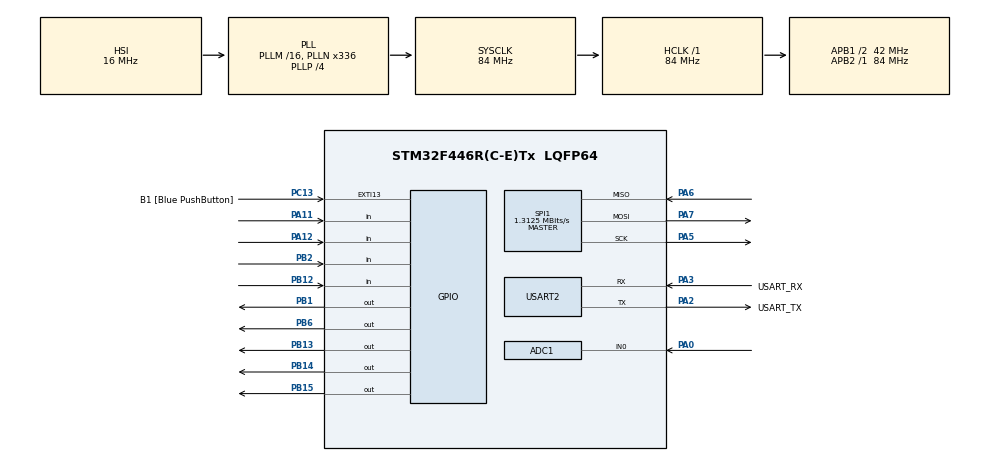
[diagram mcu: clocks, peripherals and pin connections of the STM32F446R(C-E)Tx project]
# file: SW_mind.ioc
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ADC1.Channel-0\#ChannelRegularConversion=ADC_CHANNEL_0
ADC1.NbrOfConversionFlag=1
ADC1.Rank-0\#ChannelRegularConversion=1
ADC1.Resolution=ADC_RESOLUTION_8B
ADC1.SamplingTime-0\#ChannelRegularConversion=ADC_SAMPLETIME_3CYCLES
ADC1.master=1
FREERTOS.Tasks01=defaultTask,24,128,StartDefaultTask,Default,NULL,Dynamic,NULL,NULL
Mcu.Family=STM32F4
Mcu.Name=STM32F446R(C-E)Tx
Mcu.Package=LQFP64
NVIC.PriorityGroup=NVIC_PRIORITYGROUP_4
PA0-WKUP.Signal=ADCx_IN0
PA11.Signal=GPIO_Input
PA12.Signal=GPIO_Input
PA13.GPIO_Label=TMS
PA13.Mode=Serial_Wire
PA13.Signal=SYS_JTMS-SWDIO
PA14.GPIO_Label=TCK
PA14.Mode=Serial_Wire
PA14.Signal=SYS_JTCK-SWCLK
PA2.GPIO_Label=USART_TX
PA2.Mode=Asynchronous
PA2.Signal=USART2_TX
PA3.GPIO_Label=USART_RX
PA3.Mode=Asynchronous
PA3.Signal=USART2_RX
PA5.Mode=Full_Duplex_Master
PA5.Signal=SPI1_SCK
PA6.Mode=Full_Duplex_Master
PA6.Signal=SPI1_MISO
PA7.Mode=Full_Duplex_Master
PA7.Signal=SPI1_MOSI
PB1.Signal=GPIO_Output
PB12.Signal=GPIO_Input
PB13.Signal=GPIO_Output
PB14.Signal=GPIO_Output
PB15.Signal=GPIO_Output
PB2.Signal=GPIO_Input
PB3.GPIO_Label=SWO
PB3.Signal=SYS_JTDO-SWO
PB6.Signal=GPIO_Output
PC13.GPIO_Label=B1 [Blue PushButton]
PC13.GPIO_ModeDefaultEXTI=GPIO_MODE_IT_FALLING
PC13.Signal=GPXTI13
PC14-OSC32_IN.Mode=LSE-External-Oscillator
PC14-OSC32_IN.Signal=RCC_OSC32_IN
PC15-OSC32_OUT.Mode=LSE-External-Oscillator
PC15-OSC32_OUT.Signal=RCC_OSC32_OUT
PH0-OSC_IN.Mode=HSE-External-Oscillator
PH0-OSC_IN.Signal=RCC_OSC_IN
PH1-OSC_OUT.Mode=HSE-External-Oscillator
PH1-OSC_OUT.Signal=RCC_OSC_OUT
ProjectManager.HeapSize=0x200
ProjectManager.StackSize=0x400
ProjectManager.TargetToolchain=STM32CubeIDE
RCC.48MHZClocksFreq_Value=84000000
RCC.AHBFreq_Value=84000000
RCC.APB1CLKDivider=RCC_HCLK_DIV2
RCC.APB1Freq_Value=42000000
RCC.APB1TimFreq_Value=84000000
RCC.APB2Freq_Value=84000000
RCC.APB2TimFreq_Value=84000000
RCC.CortexFreq_Value=84000000
RCC.FLatency-AdvancedSettings=FLASH_LATENCY_2
RCC.HCLKFreq_Value=84000000
RCC.HSE_VALUE=8000000
RCC.HSI_VALUE=16000000
RCC.PLLN=336
RCC.PLLP=RCC_PLLP_DIV4
RCC.SYSCLKFreq_VALUE=84000000
RCC.SYSCLKSource=RCC_SYSCLKSOURCE_PLLCLK
RCC.USBFreq_Value=168000000
RCC.VCOOutputFreq_Value=336000000
SH.ADCx_IN0.0=ADC1_IN0,IN0
SPI1.BaudRatePrescaler=SPI_BAUDRATEPRESCALER_64
SPI1.CalculateBaudRate=1.3125 MBits/s
SPI1.Direction=SPI_DIRECTION_2LINES
SPI1.Mode=SPI_MODE_MASTER
SPI1.VirtualType=VM_MASTER
USART2.VirtualMode=VM_ASYNC
VP_FREERTOS_VS_CMSIS_V2.Mode=CMSIS_V2
board=NUCLEO-F446RE

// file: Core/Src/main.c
/* USER CODE BEGIN Header */
/**
  ******************************************************************************
  * @file           : main.c
  * @brief          : Main program body
  ******************************************************************************
  * @attention
  *
  * Copyright (c) 2022 STMicroelectronics.
  * All rights reserved.
  *
  * This software is licensed under terms that can be found in the LICENSE file
  * in the root directory of this software component.
  * If no LICENSE file comes with this software, it is provided AS-IS.
  *
  ******************************************************************************
  */

/** \mainpage Mind game
 *
 * \section intro Założenia
 *
 * Projekt zakłada stworzenie gry w oparciu o mikrokontroler STM32 wspierający system FreeRTOS, oraz peryfiera w postaci
 * klawiatury matrycowej i wyświetlacz matrycowy LED.
 *
 * \section rules Zasady
 * Po wybraniu poziomu trudności na wyświetlaczu pojawi się pierwszy element z sekwencji przykładowych znaków
 * (wylosowanych z określonego zbioru dziesięciu cyfr od 0 do 9), zadaniem gracza jest zapamiętanie tej sekwencji
 * i po zakończeniu jej wyświetlania odtworzenie kolejności znaków za pośrednictwem klawiatury (każdy znak posiada
 * przyporządkowany jeden przycisk). W każdym etapie gry zwiększana jest liczba znaków do zapamiętania (modyfikacja
 * może także polegać na zwiększaniu zbioru możliwych znaków do zapamiętania). Gra kończy się w momencie, kiedy
 * gracz popełni pomyłkę podczas wprowadzania sekwencji znaków lub gdy wprowadzi wszystkie znaki które zostały wylosowane.
 * Grę można w dowolnym momencie przerwać poprzez naciśnięcie przycisku Start.
 *
 * \section perypherials Peryferia
 *
 * \subsection rand Generator liczb losowych
 * Generowanie liczb w sposób losowy odbywa się za pośrednictwem przetwornika ADC w funkcji generateRandArray().
 * Za jego pomocą zczytywane są wartości z tzw. "wiszącego kabla", które następnie konwertowane są na liczby od 0 do 9.
 *
 * \subsection led Wyświetlacz matrycowy LED
 * Obsługę wyświetlacza matrycowego realizuje zadanie DispLOGIC() przy pomocy biblioteki M8_Disp.h stworzonej na potrzebę innych zajęć.
 *
 * \subsection keypad Klawiatura matrycowa
 * Obsługę klawiatury matrycowej realizuje zadanie KeyLOGIC() przy pomocy biblioteki keypad.h stworzonej na potrzebę projektu.
 *
 * \section tasks Zadania
 * Projekt został podzielony na 3 zadania: KeyLOGIC(), DispLOGIC() oraz mainLOGIC(), odpowiadające kolejno obsłudze klawiatury matrycowej,
 * obsłudze wyświetlacza matrycowego LED oraz głównej logice programu.
 *
 *
 *
 *
 */
/* USER CODE END Header */
#include "main.h"
#include "cmsis_os.h"
#include "adc.h"
#include "spi.h"
#include "usart.h"
#include "gpio.h"

/* USER CODE BEGIN Includes */
#include "M8_Disp.h"
#include "queue.h"
#include "semphr.h"
#include "keypad.h"
/* USER CODE END Includes */

/* USER CODE BEGIN PV */
 struct Conf Conf1;
 QueueHandle_t keypadQueue = NULL;
 QueueHandle_t dispQueue = NULL;

 SemaphoreHandle_t readKeypadSemaphore;

/* USER CODE END PV */

void SystemClock_Config(void);
void MX_FREERTOS_Init(void);

/* USER CODE BEGIN 0 */

/**
 * \brief Funkcja zadania systemu FreeRTOS obsługująca odczyt z klawiatury matrycowej.
 * Funkcja decode() zwraca kod (liczbę od 1 do 16) wciśniętego przycisku. Zadanie sprawdza kod przycisku,
 * ponieważ ze względu na charakter projektu używane jest tylko 10 pierwszych klawiszy, a następnie kod
 * przycisku konwertowany jest na wartość, która zapisywana jest do kolejki keypadQueue, pod warunkiem
 * że ustawiony jest semafor readKeypadSemaphore.
 */
void KeyLOGIC( void * pvParameters ){

	uint8_t keycode = 0;
	uint16_t counter = 10000;
	uint8_t flag = 0;

	while(1){
		keycode = decode();

		if (keycode > 0 && keycode < 11 && flag != 0){
			--keycode;
			if( xSemaphoreTake( readKeypadSemaphore, ( TickType_t ) 10 ) == pdTRUE ){
				if(xQueueSendToBack(keypadQueue, (void*)&keycode, (TickType_t)10) == pdPASS){}
			}
		flag = 0;
		}
		else if(!keycode && !flag){
			if(!counter){
				counter = 10000;
				flag = 1;
			}
		counter--;
		}
	}
}

/**
 * \brief Funkcja zadania systemu FreeRTOS obsługująca wyświetlacz matrycowy LED.
 * \details Funkcja odczytuje dane otrzymane z kolejki dispQueue i wyświetla je przy użyciu funkcji Disp_Write_Word()
 * z biblioteki M8_Disp. W przypadku otrzymania wartości odpowiadającej literom "l" lub "w",
 * funkcja wyświetla odpowiednie słowa komunikujące przegraną lub wygraną.
 */
void DispLOGIC( void * pvParameters ){

	uint8_t digits[10] = {0};
	uint8_t buffer = 0;
	char *code =  '0';
	uint8_t counter = 0;
	uint8_t signs = 0;

	while(1){
		if(dispQueue != NULL){
			if(xQueueReceive(dispQueue, &(buffer), (TickType_t)10) == pdPASS ){
				switch(buffer){

					case 108:
						Disp_Clear(Conf1);
						Disp_Write_Word(Conf1, "LOSS", 4);
						vTaskDelay(500);
						Disp_Clear(Conf1);
						vTaskDelay(250);
						break;
					case 119:
						Disp_Clear(Conf1);
						Disp_Write_Word(Conf1, "WIN", 3);
						vTaskDelay(250);
						Disp_Clear(Conf1);
						vTaskDelay(250);
						break;
					default:
						digits[counter] = buffer;
						sprintf(&code, "%1d%1d%1d%1d", digits[counter], digits[counter-1], digits[counter-2], digits[counter-3]);
						Disp_Write_Word(Conf1, &code, counter+1);
						counter++;
						if(counter > signs){
							signs++;
							counter = 0;
						}
						break;
				}
			}
		}
	}
}

/**
 * \brief Funkcja generująca tablicę 10 losowych liczb.
 * \details W celu wygenerowania liczb losowychużyto przetwornika ADC. Odczytuje on szumy z wiszącego wyprowadzenia
 * mikrokontrolera, które następnie zamieniane są na liczby.
 * z zakresu od 0 do 9.
 */
int * generateRandArray(){
	static int tab[10];

	for(uint8_t i=0; i<=10 ;i++){
		HAL_ADC_Start(&hadc1);
		vTaskDelay(1);
		tab[i] = HAL_ADC_GetValue(&hadc1)%10;
	}

	return tab;
}

/**
 * \brief Funkcja zadania systemu FreeRTOS obsługująca całą logikę programu.
 * \details Przed rozpoczęciem rozgrywki, generowana jest tablica
 * zawierająca 10 losowych cyfr (0-9) przy użyciu funkcji generateRandArray(). W głównej pętli zadanie oczekuje na otrzymanie
 * kodu przycisku za pośrednictwem kolejki keypadQueue. Przy pierwszym uruchomieniu zadanie będzie oczekiwać na wciśnięcie
 * klawisza od 1 do 10 oznaczającego wybór poziomu trudności. Gdy gracz wybierze poziom trudności wówczas zadanie
 * rozpocznie grę, wysyłając pierwszą losową wygenerowaną liczbę, po czym będzie oczekiwać na wprowadzenie przez użytkownika
 * odpowiedniej wartości z klawiatury.
 * Porównanie wartości wprowadzonej z klawiatury oraz wartości znajdującej się w wygenerowanej wcześniej tablicy odbywa się
 * poprzez porównanie zmiennej buffer z odpowiednią komórka tablicy randomlyGeneratedArray w instrukcji warunkowej.
 * Po odebraniu danej z kolejki i jej przetworzeniu następuje oddanie semafora readKeypadSemaphore, aby gracz mógł wprowdzać kolejne cyfry.
 * Gra może skończyć się rezultatem przegranym gdy wprowadzona wartość nie będzie spełniała warunku, wtedy do kolejki dispQueue
 * zostaje wysłany znak "l", widziany jako kod ASCII. W przypadku wygranej, czyli gdy zmienna step zrówna się z zmienną diff, do kolejki
 *  dispQueue, zostaje wysłany znak "w". O stanie gry informuje zmienna progres.
 * Ciąg znaków, jaki ma zostać wysłany do sterownika jest poddawany konkatenacji przy pomocy strcat z kolejnymi wartościami
 * z wygenerowanej tablicy po zakończeniu każdego etapu gry.
 *
 * uint8_t buffer - Zmienna buforowa przechowywująca ostatni znak pobrany z kolejki.
 *
 * char *code - Zmienna wskaźnikowa przechowywująca ostatni znak pobrany z kolejki w formacie znakowym.
 *
 * char codeToUser - Ciąg znaków wyświetlany kierowany na sterownik wyświetlacza.
 *
 * uint8_t step - Aktualny poziom, na którym znajduje się gracz (długość ciągu do zapamiętania).
 *
 * uint8_t stage - Iteracja po elementach wygenerowanej tablicy podczas porównania.
 *
 * uint8_t progress - Stan gry: 0 - lose/ 1 - game in progress/ 2 - win/ 4 - diff select.
 *
 * uint8_t diff - Poziom trudności domyślnie ustawiony na 5.
 */
void mainLOGIC( void * pvParameters ){
	uint8_t buffer = 0;
	char *code = '0';
	char codeToUser[10] = {0};
	uint8_t step = 0;
	uint8_t stage = 0;
	uint8_t progres = 4;
	uint8_t diff = 5;

	uint8_t randomlyGeneratedArray[10];
	int *pointerTorandomlyGeneratedArray;
	pointerTorandomlyGeneratedArray = generateRandArray();

	for (uint8_t i = 0; i <= 10; i++ ) {
		randomlyGeneratedArray[i] = *(pointerTorandomlyGeneratedArray+i);
	}

	while(1){
		if(keypadQueue != NULL){
			if(xQueueReceive(keypadQueue, &(buffer), (TickType_t)10) == pdPASS ){
				if(progres == 4) {
					diff = buffer + 1;
					progres = 1;
					xSemaphoreGive( readKeypadSemaphore );
					sprintf(&codeToUser, "%1d", randomlyGeneratedArray[0]);
					Disp_Write_Word_Shift(Conf1, &codeToUser, 1);
				}
				else if(progres == 1 && (buffer == randomlyGeneratedArray[stage]) && (step <= diff-1)){
					if(xQueueSendToBack(dispQueue, (void*)&buffer, (TickType_t)10) == pdPASS){
						stage++;
						xSemaphoreGive( readKeypadSemaphore );
						if(stage == step+1){
							step++;
							if(step <= diff-1){
								vTaskDelay(500);
								sprintf(&code, "%d", randomlyGeneratedArray[step]);
								strcat(&codeToUser, &code);
								Disp_Write_Word_Shift(Conf1, &codeToUser, step+1);
								stage = 0;
							}
						}
					}
				}
				else if(step >= diff) progres = 2;
				else progres = 0;
			}
		}
		if(step >= diff) progres = 2;
		if(progres == 2){
			if(xQueueSendToBack(dispQueue, (void*)"w", (TickType_t)10) == pdPASS){
				xSemaphoreGive( readKeypadSemaphore );
			}
		}
		else if(progres == 0){
			if(xQueueSendToBack(dispQueue, (void*)"l", (TickType_t)10) == pdPASS){
				xSemaphoreGive( readKeypadSemaphore );
			}
		}
	}
}

/* USER CODE END 0 */

int main(void)
{

  /* MCU Configuration--------------------------------------------------------*/

  /* Reset of all peripherals, Initializes the Flash interface and the Systick. */
  HAL_Init();

  /* Configure the system clock */
  SystemClock_Config();

  /* Initialize all configured peripherals */
  MX_GPIO_Init();
  MX_USART2_UART_Init();
  MX_SPI1_Init();
  MX_ADC1_Init();
  /* USER CODE BEGIN 2 */
  Conf1.GPIO_Pin=GPIO_PIN_6;
  Conf1.GPIOx=GPIOB;
  Conf1.hspi=hspi1;
  Disp_Init(Conf1, 0x01);

  xTaskCreate(
		  	  	  	  mainLOGIC,      	// Funkcja realizująca zadania
                      "MAIN",          	// Nazwa zadania
                      1000,      		// Rozmiar stosu przeznaczony na zadanie
                      NULL,    			// Parametr przekazany do zadania
					  1,				// Priorytet zadania
                      NULL );     		// Używany do przekazania uchwytu zadania

  xTaskCreate(
		  	  	  	  KeyLOGIC,       	// Funkcja realizująca zadania
                      "KEY",          	// Nazwa zadania
                      1000,      		// Rozmiar stosu przeznaczony na zadanie
                      NULL,    			// Parametr przekazany do zadania
                      1,				// Priorytet zadania
                      NULL );      		// Używany do przekazania uchwytu zadania

  xTaskCreate(
		  	  	  	  DispLOGIC,       	// Funkcja realizująca zadania
                      "DISP",           // Nazwa zadania
                      1000,      		// Rozmiar stosu przeznaczony na zadanie
                      NULL,    			// Parametr przekazany do zadania
                      1,				// Priorytet zadania
					  NULL );      		// Używany do przekazania uchwytu zadania

  keypadQueue = xQueueCreate( 10, sizeof(uint8_t)); // Utworzenie kolejki 10 elementowej dla przesyłu kodów klawiszy.
  if(keypadQueue == 0) HAL_UART_Transmit(&huart2, "Err_queue", 9, 10);
  dispQueue = xQueueCreate( 10, sizeof(uint8_t)); // Utworzenie kolejki 10 elementowej dla przesyłu znaków do wyświetlenia
  if(dispQueue == 0) HAL_UART_Transmit(&huart2, "Err_queue", 9, 10);

  readKeypadSemaphore = xSemaphoreCreateBinary(); // Utworzenie semafora zezwalającego na zapis kodu klawisza do kolejki
  xSemaphoreGive( readKeypadSemaphore );

  Disp_Clear(Conf1);
  /* USER CODE END 2 */

  /* Init scheduler */
  osKernelInitialize();  /* Call init function for freertos objects (in freertos.c) */
  MX_FREERTOS_Init();

  /* Start scheduler */
  osKernelStart();

  /* We should never get here as control is now taken by the scheduler */
  /* Infinite loop */
  while (1)
  {

  }
}

/**
  * @brief Konfiguracja zegara systemowego.
  * @retval None
  */
void SystemClock_Config(void)
{
  RCC_OscInitTypeDef RCC_OscInitStruct = {0};
  RCC_ClkInitTypeDef RCC_ClkInitStruct = {0};

  /** Configure the main internal regulator output voltage
  */
  __HAL_RCC_PWR_CLK_ENABLE();
  __HAL_PWR_VOLTAGESCALING_CONFIG(PWR_REGULATOR_VOLTAGE_SCALE3);

  /** Initializes the RCC Oscillators according to the specified parameters
  * in the RCC_OscInitTypeDef structure.
  */
  RCC_OscInitStruct.OscillatorType = RCC_OSCILLATORTYPE_HSI;
  RCC_OscInitStruct.HSIState = RCC_HSI_ON;
  RCC_OscInitStruct.HSICalibrationValue = RCC_HSICALIBRATION_DEFAULT;
  RCC_OscInitStruct.PLL.PLLState = RCC_PLL_ON;
  RCC_OscInitStruct.PLL.PLLSource = RCC_PLLSOURCE_HSI;
  RCC_OscInitStruct.PLL.PLLM = 16;
  RCC_OscInitStruct.PLL.PLLN = 336;
  RCC_OscInitStruct.PLL.PLLP = RCC_PLLP_DIV4;
  RCC_OscInitStruct.PLL.PLLQ = 2;
  RCC_OscInitStruct.PLL.PLLR = 2;
  if (HAL_RCC_OscConfig(&RCC_OscInitStruct) != HAL_OK)
  {
    Error_Handler();
  }

  /** Initializes the CPU, AHB and APB buses clocks
  */
  RCC_ClkInitStruct.ClockType = RCC_CLOCKTYPE_HCLK|RCC_CLOCKTYPE_SYSCLK
                              |RCC_CLOCKTYPE_PCLK1|RCC_CLOCKTYPE_PCLK2;
  RCC_ClkInitStruct.SYSCLKSource = RCC_SYSCLKSOURCE_PLLCLK;
  RCC_ClkInitStruct.AHBCLKDivider = RCC_SYSCLK_DIV1;
  RCC_ClkInitStruct.APB1CLKDivider = RCC_HCLK_DIV2;
  RCC_ClkInitStruct.APB2CLKDivider = RCC_HCLK_DIV1;

  if (HAL_RCC_ClockConfig(&RCC_ClkInitStruct, FLASH_LATENCY_2) != HAL_OK)
  {
    Error_Handler();
  }
}

/**
  * @brief  Funkcja wykonywana podczas błędu systemu.
  * @retval None
  */
void Error_Handler(void)
{
  __disable_irq();
  while (1)
  {
  }
}

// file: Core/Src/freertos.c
/* USER CODE BEGIN Header */
/**
  ******************************************************************************
  * File Name          : freertos.c
  * Description        : Code for freertos applications
  ******************************************************************************
  * @attention
  *
  * Copyright (c) 2022 STMicroelectronics.
  * All rights reserved.
  *
  * This software is licensed under terms that can be found in the LICENSE file
  * in the root directory of this software component.
  * If no LICENSE file comes with this software, it is provided AS-IS.
  *
  ******************************************************************************
  */
/* USER CODE END Header */

#include "FreeRTOS.h"
#include "task.h"
#include "main.h"
#include "cmsis_os.h"

/* Definitions for defaultTask */
osThreadId_t defaultTaskHandle;
const osThreadAttr_t defaultTask_attributes = {
  .name = "defaultTask",
  .stack_size = 128 * 4,
  .priority = (osPriority_t) osPriorityNormal,
};

void StartDefaultTask(void *argument);

void MX_FREERTOS_Init(void); /* (MISRA C 2004 rule 8.1) */

void MX_FREERTOS_Init(void) {
/* USER CODE BEGIN Header */
/**
  ******************************************************************************
  * File Name          :
  * Description        :
  ******************************************************************************
  * @attention
  *
  * Copyright (c) 2022 STMicroelectronics.
  * All rights reserved.
  *
  * This software is licensed under terms that can be found in the LICENSE file
  * in the root directory of this software component.
  * If no LICENSE file comes with this software, it is provided AS-IS.
  *
  ******************************************************************************
  */
/* USER CODE END Header */

}

void StartDefaultTask(void *argument)
{
  for(;;)
  {
    osDelay(1);
  }
}
